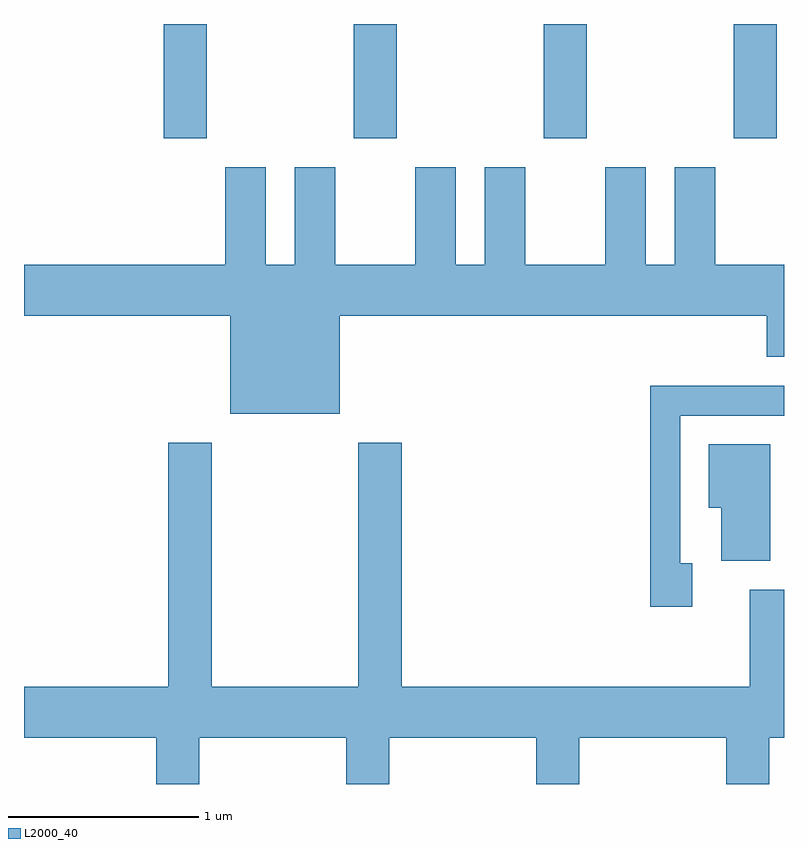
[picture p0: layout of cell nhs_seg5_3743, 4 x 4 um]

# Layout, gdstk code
import gdstk
lib = gdstk.Library(unit=1e-6, precision=1e-09)
def R(c, l, rs):  # rectangles x0, y0, x1, y1
    for r in rs: c.add(gdstk.rectangle(r[:2], r[2:], *l))
def A(c, l, x, y, w, h, nx, ny, dx, dy):  # array of equal rectangles
    R(c, l, [(x+i*dx, y+j*dy, x+i*dx+w, y+j*dy+h) for i in range(nx) for j in range(ny)])
def P(c, l, *ps):  # polygons
    for p in ps: c.add(gdstk.Polygon(p, *l))
L2000_40 = (2000, 40)

nhs_seg5_3743 = lib.new_cell('nhs_seg5_3743')
A(nhs_seg5_3743, L2000_40, 296.346, 1495.471, 0.228, 0.601, 4, 1, 1, 0)
P(nhs_seg5_3743, L2000_40, [(297.274,1494.536),(299.521,1494.536),(299.521,1494.321),(299.611,1494.321),(299.611,1494.804),(299.249,1494.804),(299.249,1495.319),(299.036,1495.319),(299.036,1494.804),(298.884,1494.804),(298.884,1495.319),(298.671,1495.319),(298.671,1494.804),(298.249,1494.804),(298.249,1495.319),(298.036,1495.319),(298.036,1494.804),(297.884,1494.804),(297.884,1495.319),(297.671,1495.319),(297.671,1494.804),(297.249,1494.804),(297.249,1495.319),(297.036,1495.319),(297.036,1494.804),(296.884,1494.804),(296.884,1495.319),(296.671,1495.319),(296.671,1494.804),(295.611,1494.804),(295.611,1494.536),(296.696,1494.536),(296.696,1494.021),(297.274,1494.021)],
  [(299.129,1493.234),(299.064,1493.234),(299.064,1494.011),(299.611,1494.011),(299.611,1494.169),(298.906,1494.169),(298.906,1493.006),(299.129,1493.006)],
  [(296.534,1492.316),(297.306,1492.316),(297.306,1492.072),(297.534,1492.072),(297.534,1492.316),(298.306,1492.316),(298.306,1492.072),(298.534,1492.072),(298.534,1492.316),(299.306,1492.316),(299.306,1492.072),(299.534,1492.072),(299.534,1492.316),(299.611,1492.316),(299.611,1493.094),(299.431,1493.094),(299.431,1492.584),(297.599,1492.584),(297.599,1493.869),(297.371,1493.869),(297.371,1492.584),(296.599,1492.584),(296.599,1493.869),(296.371,1493.869),(296.371,1492.584),(295.611,1492.584),(295.611,1492.316),(296.306,1492.316),(296.306,1492.072),(296.534,1492.072)],
  [(299.539,1493.859),(299.216,1493.859),(299.216,1493.526),(299.281,1493.526),(299.281,1493.246),(299.539,1493.246)])

lib.write_gds('nhs_seg5_3743.gds')
